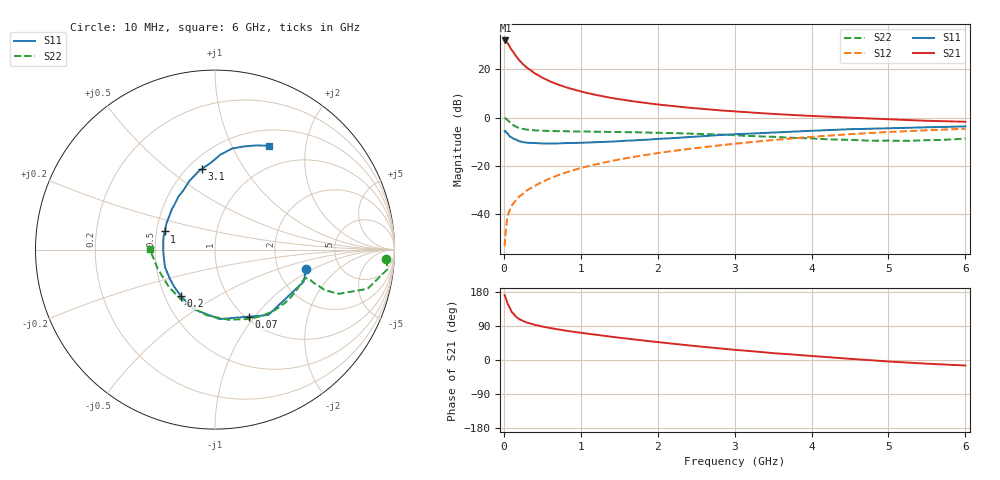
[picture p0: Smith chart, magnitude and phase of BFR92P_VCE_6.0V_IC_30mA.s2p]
! Infineon Technologies  Discrete & RF Semiconductors
! BFR92P
! VCE =  6.0 V,  IC =  30 mA
! Common Emitter S-Parameters:  Apr 2014
# GHz  S  MA  R  50
!  f  S11  S21  S12  S22
! GHz  MAG  ANG  MAG  ANG  MAG  ANG  MAG  ANG
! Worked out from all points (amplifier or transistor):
!   77 points, 10 MHz to 6 GHz, reference 50 ohm
!   highest |S21| = 32.1 dB at 20 MHz (marker M1)
!   |S21| within 3 dB of that: start of sweep to 83.77 MHz
!   unconditionally stable (mu >= 1): 361.9 MHz to 2.107 GHz
!   at 130 MHz: K = 0.66, MSG = 31.2 dB, |S12| = -35.5 dB
!   at 2.2 GHz: K = 0.99, MSG = 9.3 dB, |S12| = -13.9 dB
!   at 6 GHz: K = 0.88, MSG = 1.4 dB, |S12| = -4.6 dB
!   S11 on the Smith chart (normalised r, x): 10 MHz: 2.87, -0.86; 70 MHz: 1.03, -0.93; 200 MHz: 0.60, -0.35; 1 GHz: 0.55, +0.12; 3.1 GHz: 0.59, +0.66; 6 GHz: 0.70, +1.41
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0.01  0.5191 -12.2  40.15 171.4  0.0021 88.9  0.9565 -3.1
0.02  0.5255 -19.9  40.17 165.9  0.0035 90.6  0.967 -6.5
0.05  0.4699 -50.9  35.25 147.7  0.0089 70.7  0.8776 -14.4
0.07  0.418 -63.3  31.03 140.9  0.0111 69.0  0.8194 -16.3
0.1  0.3878 -86.4  25.82 127.0  0.0144 67.5  0.7341 -19.6
0.15  0.3524 -109.8  19.77 115.7  0.0184 66.0  0.652 -20.3
0.2  0.3207 -126.5  15.57 107.8  0.0227 66.6  0.6026 -19.0
0.25  0.3075 -137.6  12.83 103.1  0.0259 69.7  0.5786 -18.6
0.3  0.2997 -147.1  10.89 98.7  0.0304 70.6  0.5589 -17.7
0.4  0.2952 -160.6  8.352 92.8  0.0375 72.7  0.5402 -17.3
0.5  0.289 -169.7  6.745 88.3  0.0459 74.3  0.5305 -17.6
0.6  0.2885 -177.5  5.663 84.4  0.0539 74.7  0.5245 -18.2
0.7  0.289 175.7  4.89 80.9  0.0626 75.3  0.5205 -19.1
0.8  0.2932 169.6  4.304 77.7  0.0711 75.2  0.5163 -20.4
1  0.2979 160.1  3.495 71.9  0.0889 75.2  0.5104 -23.4
1.1  0.3012 156.1  3.194 69.1  0.0974 74.8  0.5096 -24.9
1.5  0.3215 140.5  2.407 58.9  0.1339 72.8  0.4994 -31.9
2.1  0.3651 121.6  1.799 45.2  0.1916 68.0  0.4773 -43.5
3.1  0.4552 99.3  1.31 25.2  0.2944 57.6  0.4204 -67.2
4.1  0.5373 85.4  1.061 9.2  0.4059 45.1  0.3598 -101.2
5.1  0.6031 72.8  0.907 -5.1  0.5077 30.4  0.3283 -145.3
6  0.6524 62.5  0.817 -14.5  0.5861 17.1  0.3642 179.4
